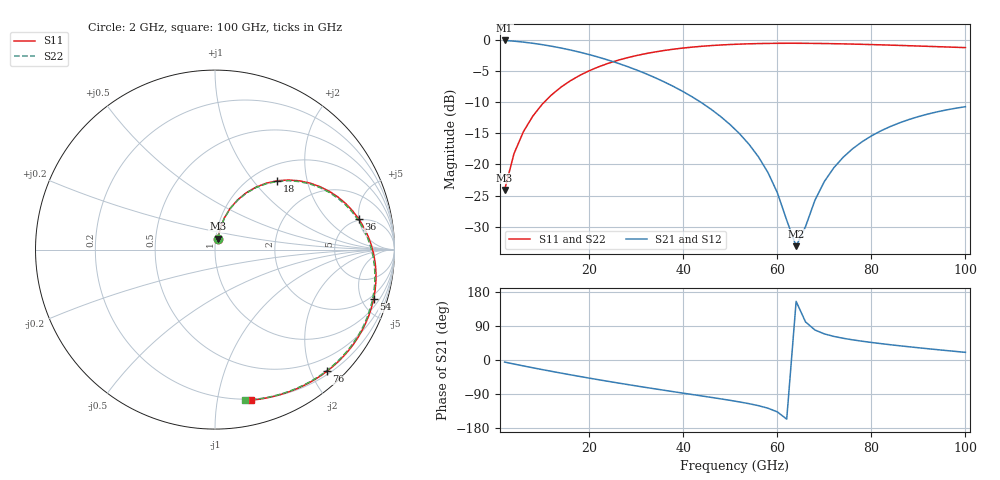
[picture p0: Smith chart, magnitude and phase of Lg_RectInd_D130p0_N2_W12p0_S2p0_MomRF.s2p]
! Created Thu Oct  1 20:40:43 2026
! List of port names and net name(s): example Port n = <port_name> <net_name1> <net_name2> ...
! Port 1 = P1 P1
! Port 2 = P2 P2
# hz S ma R 50
! Port[1]
! Port[2]
! 2 Port Network Data from data block
! freq  magS11  angS11  magS21  angS21  magS12  angS12  magS22  angS22
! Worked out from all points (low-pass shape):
!   50 points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, 2 GHz to 100 GHz, reference 50 ohm
!   highest |S21| = -0.13 dB at 2 GHz (marker M1); lowest = -33.1 dB at 64 GHz (marker M2)
!   |S21| within 3 dB of the highest: start of sweep to 23.39 GHz
!   lowest |S11| = -24.1 dB at 2 GHz (marker M3), VSWR 1.13, Z = 51.1 + j6.22 ohm
!   |S11| at or under -10 dB: start of sweep to 10.47 GHz
!   |S22| runs from -24.1 to -0.6 dB; largest |S21 - S12| = 0
!   S11 on the Smith chart (normalised r, x): 2 GHz: 1.02, +0.12; 18 GHz: 1.28, +1.34; 36 GHz: 4.80, +4.97; 54 GHz: 1.58, -6.13; 76 GHz: 0.25, -2.25; 100 GHz: 0.19, -1.25
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2e9  0.06246 76.0  0.985 -5.4  0.985 -5.4  0.06247 75.9
4e9  0.1222 76.3  0.9724 -10.6  0.9724 -10.6  0.1222 76.1
6e9  0.183 73.6  0.9555 -15.6  0.9555 -15.6  0.1828 73.4
8e9  0.2438 69.9  0.9351 -20.5  0.9351 -20.5  0.2434 69.6
1.2e10  0.3612 61.2  0.8855 -30.0  0.8855 -30.0  0.3603 60.9
1.8e10  0.5175 47.8  0.7932 -43.5  0.7932 -43.5  0.5158 47.5
2e10  0.5633 43.5  0.7588 -47.8  0.7588 -47.8  0.5614 43.2
2.8e10  0.7146 27.0  0.6108 -64.4  0.6108 -64.4  0.712 26.6
3.6e10  0.8192 12.0  0.4575 -80.0  0.4575 -80.0  0.816 11.5
4.4e10  0.885 -1.8  0.3102 -95.0  0.3102 -95.0  0.8814 -2.4
5.2e10  0.9208 -14.4  0.1757 -110.7  0.1757 -110.7  0.9167 -15.2
5.4e10  0.926 -17.4  0.1447 -115.3  0.1447 -115.3  0.9218 -18.3
5.8e10  0.9327 -23.3  0.08626 -127.1  0.08626 -127.1  0.9283 -24.2
6e10  0.9344 -26.1  0.05944 -136.9  0.05944 -136.9  0.93 -27.1
6.4e10  0.9351 -31.7  0.02212 154.7  0.02212 154.7  0.9305 -32.8
6.6e10  0.9342 -34.4  0.03175 100.5  0.03175 100.5  0.9295 -35.5
6.8e10  0.9327 -37.1  0.05165 79.2  0.05165 79.2  0.9279 -38.3
7.2e10  0.9279 -42.3  0.09386 62.3  0.09386 62.3  0.9229 -43.6
7.6e10  0.9211 -47.4  0.1334 53.2  0.1334 53.2  0.9159 -48.8
8.4e10  0.9037 -57.3  0.201 40.4  0.201 40.4  0.8981 -58.9
9.2e10  0.8837 -66.9  0.2532 29.8  0.2532 29.8  0.8775 -68.8
1e11  0.8631 -76.4  0.29 20.2  0.29 20.2  0.8562 -78.7
